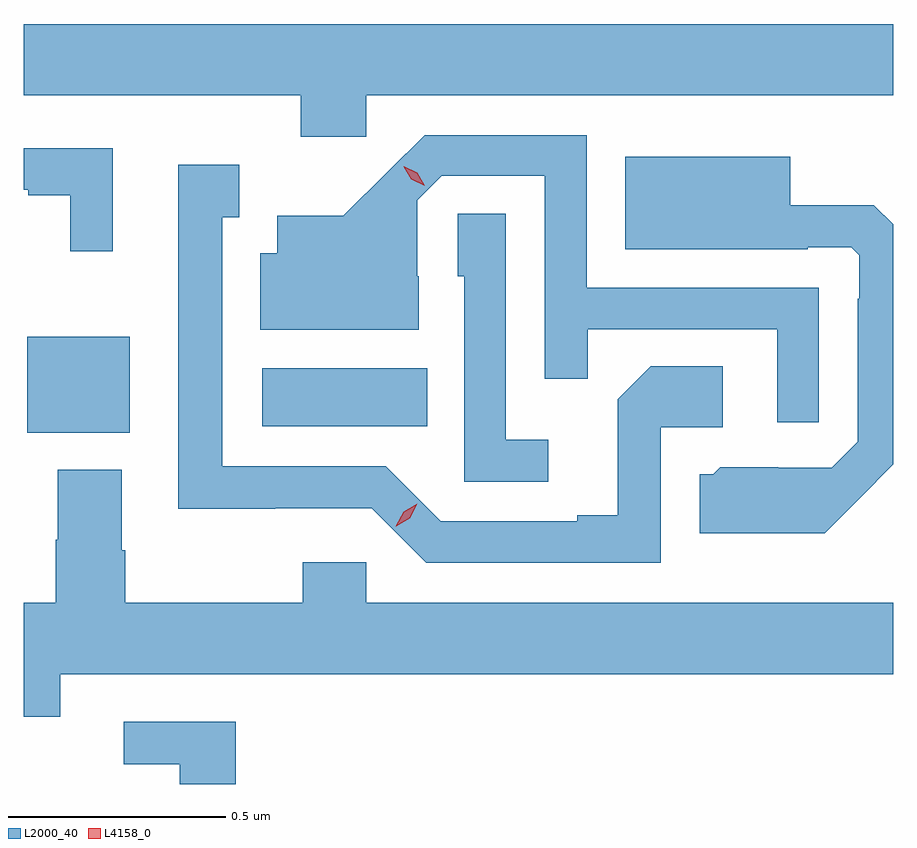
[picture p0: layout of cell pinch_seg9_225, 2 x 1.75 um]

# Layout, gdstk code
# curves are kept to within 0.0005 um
import gdstk
lib = gdstk.Library(unit=1e-6, precision=1e-09)
def R(c, l, rs):  # rectangles x0, y0, x1, y1
    for r in rs: c.add(gdstk.rectangle(r[:2], r[2:], *l))
def P(c, l, *ps):  # polygons
    for p in ps: c.add(gdstk.Polygon(p, *l))
L2000_40 = (2000, 40)
L4158_0 = (4158, 0)

pinch_seg9_225 = lib.new_cell('pinch_seg9_225')
R(pinch_seg9_225, L2000_40, [(605.255,1206.299,605.491,1206.52), (605.796,1206.314,606.176,1206.448)])
P(pinch_seg9_225, L2000_40, [(606.036,1207.076),(607.248,1207.076),(607.248,1207.24),(605.248,1207.24),(605.248,1207.076),(605.885,1207.076),(605.885,1206.981),(606.036,1206.981)],
  [(607.077,1206.633),(606.543,1206.633),(606.543,1206.984),(606.17,1206.984),(605.983,1206.799),(605.831,1206.799),(605.831,1206.712),(605.792,1206.712),(605.792,1206.536),(606.157,1206.536),(606.157,1206.66),(606.153,1206.66),(606.153,1206.834),(606.21,1206.891),(606.447,1206.891),(606.447,1206.424),(606.545,1206.424),(606.545,1206.537),(606.981,1206.537),(606.981,1206.324),(607.077,1206.324)],
  [(605.452,1206.954),(605.248,1206.954),(605.248,1206.858),(605.258,1206.858),(605.258,1206.846),(605.354,1206.846),(605.354,1206.717),(605.452,1206.717)],
  [(607.171,1206.149),(607.248,1206.227),(607.248,1206.779),(607.204,1206.823),(607.012,1206.823),(607.012,1206.934),(606.632,1206.934),(606.632,1206.722),(607.052,1206.722),(607.052,1206.726),(607.152,1206.726),(607.17,1206.708),(607.17,1206.608),(607.167,1206.608),(607.167,1206.279),(607.107,1206.219),(606.984,1206.219),(606.984,1206.22),(606.85,1206.22),(606.834,1206.204),(606.803,1206.204),(606.803,1206.068),(607.091,1206.068)],
  [(606.714,1206.312),(606.856,1206.312),(606.856,1206.452),(606.691,1206.452),(606.615,1206.376),(606.615,1206.109),(606.521,1206.109),(606.521,1206.096),(606.207,1206.096),(606.081,1206.222),(605.704,1206.222),(605.704,1206.795),(605.743,1206.795),(605.743,1206.916),(605.603,1206.916),(605.603,1206.125),(605.826,1206.125),(605.826,1206.126),(606.048,1206.126),(606.174,1206),(606.714,1206)],
  [(606.454,1206.283),(606.357,1206.283),(606.357,1206.803),(606.246,1206.803),(606.246,1206.66),(606.261,1206.66),(606.261,1206.186),(606.454,1206.186)],
  [(605.332,1205.744),(607.248,1205.744),(607.248,1205.908),(606.036,1205.908),(606.036,1206.001),(605.89,1206.001),(605.89,1205.908),(605.481,1205.908),(605.481,1206.029),(605.473,1206.029),(605.473,1206.214),(605.326,1206.214),(605.326,1206.053),(605.321,1206.053),(605.321,1205.908),(605.248,1205.908),(605.248,1205.646),(605.332,1205.646)],
  [(605.735,1205.634),(605.478,1205.634),(605.478,1205.536),(605.607,1205.536),(605.607,1205.491),(605.735,1205.491)])
P(pinch_seg9_225, L4158_0, [(606.17,1206.868),(606.139,1206.883),(606.122,1206.912),(606.122,1206.913),(606.122,1206.913),(606.153,1206.898),(606.17,1206.868),(606.17,1206.868)],
  [(606.104,1206.084),(606.104,1206.084),(606.122,1206.117),(606.153,1206.136),(606.153,1206.136),(606.153,1206.136),(606.136,1206.103),(606.105,1206.084)])

lib.write_gds('pinch_seg9_225.gds')
